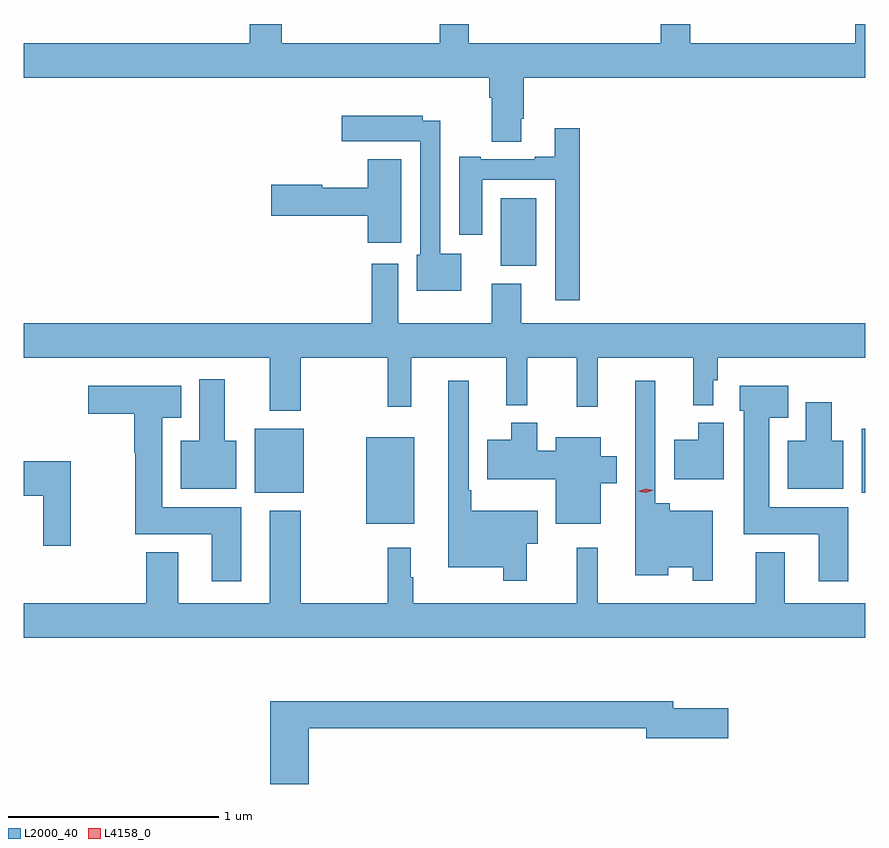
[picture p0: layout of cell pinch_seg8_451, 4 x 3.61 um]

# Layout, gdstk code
import gdstk
lib = gdstk.Library(unit=1e-6, precision=1e-09)
def R(c, l, rs):  # rectangles x0, y0, x1, y1
    for r in rs: c.add(gdstk.rectangle(r[:2], r[2:], *l))
def P(c, l, *ps):  # polygons
    for p in ps: c.add(gdstk.Polygon(p, *l))
L2000_40 = (2000, 40)
L4158_0 = (4158, 0)

pinch_seg8_451 = lib.new_cell('pinch_seg8_451')
R(pinch_seg8_451, L2000_40, [(219.068,1135.691,219.295,1136.101), (218.537,1135.838,218.77,1136.143), (221.423,1135.838,221.44,1136.143), (219.707,1136.918,219.877,1137.238)])
P(pinch_seg8_451, L2000_40, [(219.805,1137.616),(219.818,1137.616),(219.818,1137.812),(221.44,1137.812),(221.44,1138.067),(221.393,1138.067),(221.393,1137.976),(220.609,1137.976),(220.609,1138.067),(220.469,1138.067),(220.469,1137.976),(219.555,1137.976),(219.555,1138.067),(219.417,1138.067),(219.417,1137.976),(218.665,1137.976),(218.665,1138.067),(218.513,1138.067),(218.513,1137.976),(217.44,1137.976),(217.44,1137.812),(219.653,1137.812),(219.653,1137.716),(219.665,1137.716),(219.665,1137.508),(219.805,1137.508)],
  [(219.52,1136.974),(219.42,1136.974),(219.42,1137.608),(219.336,1137.608),(219.336,1137.631),(218.952,1137.631),(218.952,1137.509),(219.227,1137.509),(219.227,1137.51),(219.324,1137.51),(219.324,1136.97),(219.308,1136.97),(219.308,1136.798),(219.52,1136.798)],
  [(220.082,1137.571),(219.965,1137.571),(219.965,1137.436),(219.869,1137.436),(219.869,1137.423),(219.613,1137.423),(219.613,1137.436),(219.509,1137.436),(219.509,1137.066),(219.619,1137.066),(219.619,1137.327),(219.966,1137.327),(219.966,1136.754),(220.082,1136.754)],
  [(219.235,1137.424),(219.074,1137.424),(219.074,1137.289),(218.859,1137.289),(218.859,1137.302),(218.616,1137.302),(218.616,1137.155),(219.074,1137.155),(219.074,1137.027),(219.235,1137.027)],
  [(218.757,1136.48),(219.171,1136.48),(219.171,1136.247),(219.281,1136.247),(219.281,1136.48),(219.734,1136.48),(219.734,1136.255),(219.834,1136.255),(219.834,1136.48),(220.069,1136.48),(220.069,1136.247),(220.169,1136.247),(220.169,1136.48),(220.622,1136.48),(220.622,1136.255),(220.719,1136.255),(220.719,1136.373),(220.739,1136.373),(220.739,1136.48),(221.44,1136.48),(221.44,1136.644),(219.805,1136.644),(219.805,1136.833),(219.665,1136.833),(219.665,1136.644),(219.22,1136.644),(219.22,1136.926),(219.095,1136.926),(219.095,1136.644),(217.44,1136.644),(217.44,1136.48),(218.609,1136.48),(218.609,1136.228),(218.757,1136.228)],
  [(218.449,1136.086),(218.395,1136.086),(218.395,1136.377),(218.273,1136.377),(218.273,1136.086),(218.186,1136.086),(218.186,1135.856),(218.449,1135.856)],
  [(220.716,1135.753),(220.512,1135.753),(220.512,1135.789),(220.443,1135.789),(220.443,1136.371),(220.346,1136.371),(220.346,1136.107),(220.347,1136.107),(220.347,1135.785),(220.346,1135.785),(220.346,1135.445),(220.504,1135.445),(220.504,1135.484),(220.62,1135.484),(220.62,1135.419),(220.716,1135.419)],
  [(219.831,1135.595),(219.883,1135.595),(219.883,1135.753),(219.568,1135.753),(219.568,1135.849),(219.555,1135.849),(219.555,1136.371),(219.458,1136.371),(219.458,1135.484),(219.72,1135.484),(219.72,1135.419),(219.831,1135.419)],
  [(218.473,1135.768),(218.098,1135.768),(218.098,1136.195),(218.188,1136.195),(218.188,1136.347),(217.746,1136.347),(217.746,1136.213),(217.964,1136.213),(217.964,1136.029),(217.969,1136.029),(217.969,1135.64),(218.333,1135.64),(218.333,1135.416),(218.473,1135.416)],
  [(221.359,1135.768),(220.984,1135.768),(220.984,1136.195),(221.074,1136.195),(221.074,1136.347),(220.844,1136.347),(220.844,1136.229),(220.862,1136.229),(220.862,1135.64),(221.219,1135.64),(221.219,1135.416),(221.359,1135.416)],
  [(221.335,1136.086),(221.281,1136.086),(221.281,1136.269),(221.159,1136.269),(221.159,1136.086),(221.072,1136.086),(221.072,1135.856),(221.335,1135.856)],
  [(220.183,1135.882),(220.258,1135.882),(220.258,1136.011),(220.183,1136.011),(220.183,1136.101),(219.968,1136.101),(219.968,1136.037),(219.88,1136.037),(219.88,1136.17),(219.758,1136.17),(219.758,1136.089),(219.644,1136.089),(219.644,1135.901),(219.968,1135.901),(219.968,1135.691),(220.183,1135.691)],
  [(220.768,1136.17),(220.646,1136.17),(220.646,1136.089),(220.532,1136.089),(220.532,1135.901),(220.768,1135.901)],
  [(217.662,1135.988),(217.44,1135.988),(217.44,1135.823),(217.532,1135.823),(217.532,1135.587),(217.662,1135.587)],
  [(221.44,1135.312),(221.059,1135.312),(221.059,1135.555),(220.919,1135.555),(220.919,1135.312),(220.168,1135.312),(220.168,1135.576),(220.069,1135.576),(220.069,1135.312),(219.292,1135.312),(219.292,1135.436),(219.28,1135.436),(219.28,1135.576),(219.171,1135.576),(219.171,1135.312),(218.757,1135.312),(218.757,1135.753),(218.609,1135.753),(218.609,1135.312),(218.173,1135.312),(218.173,1135.555),(218.021,1135.555),(218.021,1135.312),(217.44,1135.312),(217.44,1135.148),(221.44,1135.148)],
  [(218.795,1134.718),(220.4,1134.718),(220.4,1134.671),(220.789,1134.671),(220.789,1134.813),(220.528,1134.813),(220.528,1134.847),(218.612,1134.847),(218.612,1134.453),(218.795,1134.453)])
P(pinch_seg8_451, L4158_0, [(220.397,1135.838),(220.361,1135.845),(220.36,1135.845),(220.361,1135.846),(220.396,1135.858),(220.432,1135.851),(220.432,1135.851),(220.432,1135.85)])

lib.write_gds('pinch_seg8_451.gds')
